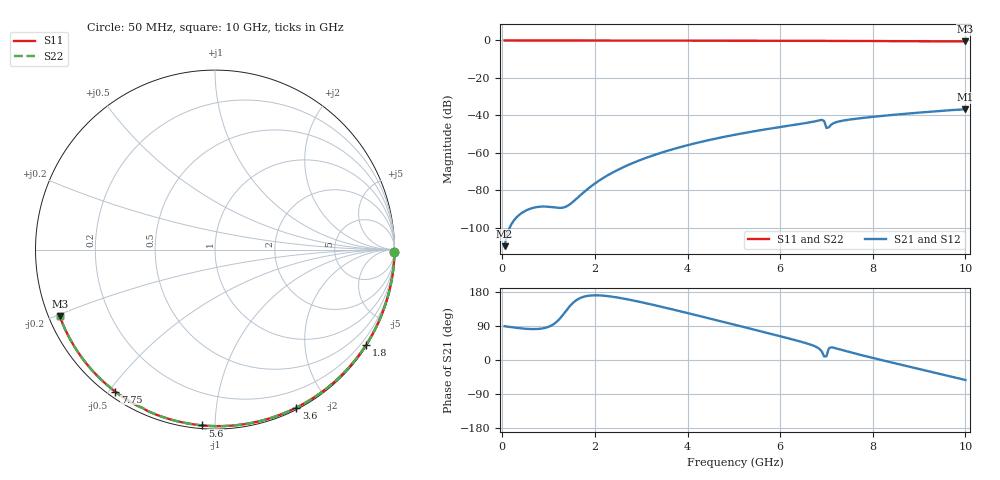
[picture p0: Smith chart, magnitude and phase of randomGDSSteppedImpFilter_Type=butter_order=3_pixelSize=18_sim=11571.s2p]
! freq	dB(S11)	phase(S11)	dB(S12)	phase(S12)
!  dB(S21)	phase(S21)	dB(S22)	phase(S22)
!S-par simulation data
#  GHz  S  DB  R 50
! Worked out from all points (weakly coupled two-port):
!   200 points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, 50 MHz to 10 GHz, reference 50 ohm
!   highest |S21| = -36.74 dB at 10 GHz (marker M1); lowest = -109.8 dB at 50 MHz (marker M2)
!   lowest |S11| = -0.5 dB at 10 GHz (marker M3), VSWR 33.07, Z = 1.58 - j10.3 ohm
!   |S11| at or under -10 dB: nowhere
!   |S22| runs from -0.5 to 0.0 dB; largest |S21 - S12| = 0
!   S11 on the Smith chart (normalised r, x): 50 MHz: open; 1.8 GHz: 0.03, -3.46; 3.6 GHz: 0.02, -1.64; 5.6 GHz: 0.02, -0.93; 7.75 GHz: 0.02, -0.52; 10 GHz: 0.03, -0.21
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0.05  -0.00 -0.9  -109.84 89.1  -109.84 89.1  -0.00 -0.9
0.9  -0.02 -16.3  -88.68 84.1  -88.68 84.1  -0.02 -16.3
1.75  -0.04 -31.4  -81.25 166.6  -81.25 166.6  -0.04 -31.4
1.8  -0.04 -32.3  -80.20 168.2  -80.20 168.2  -0.04 -32.3
2.15  -0.05 -38.4  -73.88 170.1  -73.88 170.1  -0.05 -38.4
2.5  -0.06 -44.4  -69.03 164.6  -69.03 164.6  -0.06 -44.4
2.9  -0.07 -51.2  -64.61 155.2  -64.61 155.2  -0.07 -51.2
3.4  -0.08 -59.5  -60.19 141.5  -60.19 141.5  -0.08 -59.5
3.6  -0.08 -62.8  -58.66 135.7  -58.66 135.7  -0.08 -62.8
4.3  -0.11 -74.1  -54.11 114.9  -54.11 114.9  -0.11 -74.1
5.05  -0.13 -85.7  -50.21 92.0  -50.21 92.0  -0.13 -85.7
5.6  -0.16 -94.1  -47.81 75.2  -47.81 75.2  -0.16 -94.1
6.7  -0.21 -110.2  -43.46 38.8  -43.46 38.8  -0.21 -110.2
6.9  -0.23 -113.2  -42.36 22.2  -42.36 22.2  -0.23 -113.2
6.95  -0.25 -113.9  -43.02 9.3  -43.02 9.3  -0.25 -113.9
7  -0.26 -114.5  -46.74 9.9  -46.74 9.9  -0.26 -114.5
7.05  -0.26 -115.2  -46.37 30.5  -46.37 30.5  -0.26 -115.2
7.15  -0.25 -116.6  -44.23 32.5  -44.23 32.5  -0.25 -116.6
7.25  -0.26 -118.0  -43.37 29.1  -43.37 29.1  -0.26 -118.0
7.75  -0.29 -125.1  -41.46 13.0  -41.46 13.0  -0.29 -125.1
8.35  -0.34 -133.5  -39.93 -4.9  -39.93 -4.9  -0.34 -133.5
10  -0.53 -156.8  -36.74 -52.7  -36.74 -52.7  -0.53 -156.8
